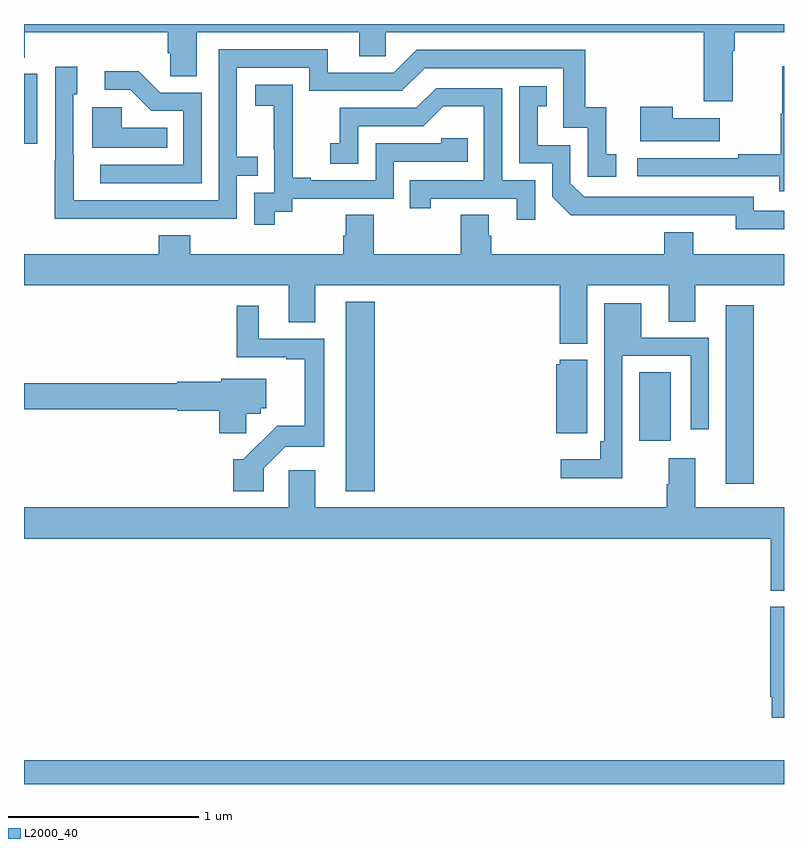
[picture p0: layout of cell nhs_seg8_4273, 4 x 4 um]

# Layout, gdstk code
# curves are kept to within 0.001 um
import gdstk
lib = gdstk.Library(unit=1e-6, precision=1e-09)
def R(c, l, rs):  # rectangles x0, y0, x1, y1
    for r in rs: c.add(gdstk.rectangle(r[:2], r[2:], *l))
def P(c, l, *ps):  # polygons
    for p in ps: c.add(gdstk.Polygon(p, *l))
L2000_40 = (2000, 40)

nhs_seg8_4273 = lib.new_cell('nhs_seg8_4273')
R(nhs_seg8_4273, L2000_40, [(373,1089.9,377,1090.024), (374.693,1091.441,374.846,1092.439), (376.694,1091.481,376.841,1092.421), (376.238,1091.706,376.405,1092.068), (373,1093.269,373.071,1093.638)])
P(nhs_seg8_4273, L2000_40, [(377,1093.9),(373,1093.9),(373,1093.723),(373.004,1093.723),(373.004,1093.856),(373.757,1093.856),(373.757,1093.747),(373.77,1093.747),(373.77,1093.624),(373.909,1093.624),(373.909,1093.856),(374.765,1093.856),(374.765,1093.729),(374.904,1093.729),(374.904,1093.856),(376.577,1093.856),(376.577,1093.494),(376.729,1093.494),(376.729,1093.76),(376.742,1093.76),(376.742,1093.856),(377,1093.856)],
  [(373.625,1092.876),(374.121,1092.876),(374.121,1093.101),(374.231,1093.101),(374.231,1093.202),(374.121,1093.202),(374.121,1093.671),(374.502,1093.671),(374.502,1093.548),(374.988,1093.548),(375.108,1093.668),(375.837,1093.668),(375.837,1093.353),(375.966,1093.353),(375.966,1093.095),(376.117,1093.095),(376.117,1093.215),(376.064,1093.215),(376.064,1093.462),(375.953,1093.462),(375.953,1093.764),(375.066,1093.764),(374.946,1093.644),(374.599,1093.644),(374.599,1093.767),(374.025,1093.767),(374.025,1092.972),(373.261,1092.972),(373.26,1093.53),(373.279,1093.53),(373.279,1093.675),(373.164,1093.675),(373.164,1093.181),(373.162,1093.181),(373.162,1092.875)],
  [(377,1093.678),(376.99,1093.678),(376.99,1093.428),(376.983,1093.428),(376.983,1093.214),(376.759,1093.214),(376.759,1093.194),(376.227,1093.194),(376.227,1093.098),(376.975,1093.098),(376.975,1093.02),(377,1093.02)],
  [(373.935,1093.539),(373.716,1093.539),(373.603,1093.652),(373.425,1093.652),(373.425,1093.554),(373.559,1093.554),(373.67,1093.443),(373.839,1093.443),(373.839,1093.158),(373.401,1093.158),(373.401,1093.062),(373.935,1093.062)],
  [(374.32,1092.913),(374.412,1092.913),(374.412,1092.981),(374.946,1092.981),(374.946,1093.176),(375.335,1093.176),(375.335,1093.299),(375.195,1093.299),(375.195,1093.272),(374.85,1093.272),(374.85,1093.077),(374.509,1093.077),(374.509,1093.09),(374.414,1093.09),(374.414,1093.373),(374.415,1093.373),(374.415,1093.579),(374.217,1093.579),(374.217,1093.469),(374.315,1093.469),(374.315,1093.241),(374.316,1093.241),(374.316,1093.011),(374.211,1093.011),(374.211,1092.843),(374.32,1092.843)],
  [(377,1092.918),(376.842,1092.918),(376.842,1092.99),(375.948,1092.99),(375.876,1093.062),(375.876,1093.263),(375.703,1093.263),(375.703,1093.467),(375.752,1093.467),(375.752,1093.573),(375.606,1093.573),(375.606,1093.167),(375.78,1093.167),(375.78,1092.99),(375.878,1092.893),(376.746,1092.894),(376.746,1092.821),(377,1092.821)],
  [(375.69,1093.077),(375.516,1093.077),(375.516,1093.563),(375.17,1093.563),(375.065,1093.458),(374.662,1093.458),(374.662,1093.273),(374.613,1093.273),(374.613,1093.164),(374.76,1093.164),(374.76,1093.362),(375.102,1093.362),(375.206,1093.466),(375.42,1093.466),(375.42,1093.077),(375.031,1093.077),(375.031,1092.93),(375.142,1092.93),(375.142,1092.981),(375.593,1092.981),(375.593,1092.87),(375.69,1092.87)],
  [(376.663,1093.405),(376.415,1093.405),(376.415,1093.465),(376.244,1093.465),(376.244,1093.283),(376.663,1093.283)],
  [(373.754,1093.354),(373.515,1093.354),(373.515,1093.462),(373.358,1093.462),(373.358,1093.25),(373.754,1093.25)],
  [(375.964,1092.524),(376.394,1092.524),(376.394,1092.334),(376.534,1092.334),(376.534,1092.524),(377,1092.524),(377,1092.688),(376.522,1092.688),(376.522,1092.805),(376.37,1092.805),(376.37,1092.688),(375.458,1092.688),(375.458,1092.786),(375.445,1092.786),(375.445,1092.896),(375.298,1092.896),(375.298,1092.688),(374.841,1092.688),(374.841,1092.896),(374.693,1092.896),(374.693,1092.786),(374.681,1092.786),(374.681,1092.688),(373.874,1092.688),(373.874,1092.787),(373.709,1092.787),(373.709,1092.688),(373,1092.688),(373,1092.524),(374.393,1092.524),(374.393,1092.33),(374.533,1092.33),(374.533,1092.524),(375.821,1092.524),(375.821,1092.218),(375.964,1092.218)],
  [(376.149,1092.153),(376.509,1092.153),(376.509,1091.766),(376.605,1091.766),(376.605,1092.249),(376.249,1092.249),(376.249,1092.43),(376.053,1092.43),(376.053,1091.704),(376.033,1091.704),(376.033,1091.608),(375.825,1091.608),(375.825,1091.51),(376.149,1091.51)],
  [(374.262,1091.562),(374.376,1091.676),(374.581,1091.676),(374.581,1092.243),(374.236,1092.243),(374.236,1092.418),(374.119,1092.418),(374.119,1092.147),(374.381,1092.147),(374.381,1092.135),(374.477,1092.135),(374.477,1091.786),(374.333,1091.786),(374.155,1091.608),(374.102,1091.608),(374.102,1091.442),(374.262,1091.442)],
  [(375.964,1092.133),(375.819,1092.133),(375.819,1092.108),(375.8,1092.108),(375.8,1091.747),(375.964,1091.747)],
  [(374.171,1091.85),(374.247,1091.85),(374.247,1091.877),(374.275,1091.877),(374.275,1092.034),(374.039,1092.034),(374.039,1092.016),(373.806,1092.016),(373.806,1092.008),(373,1092.008),(373,1091.872),(373.806,1091.872),(373.806,1091.864),(374.027,1091.864),(374.027,1091.745),(374.171,1091.745)],
  [(377,1091.356),(376.534,1091.356),(376.534,1091.614),(376.394,1091.614),(376.394,1091.477),(376.382,1091.477),(376.382,1091.356),(374.533,1091.356),(374.533,1091.551),(374.394,1091.551),(374.394,1091.356),(373,1091.356),(373,1091.192),(376.931,1091.192),(376.931,1090.918),(377,1090.918)],
  [(377,1090.833),(376.927,1090.833),(376.927,1090.36),(376.935,1090.36),(376.935,1090.248),(377,1090.248)])

lib.write_gds('nhs_seg8_4273.gds')
